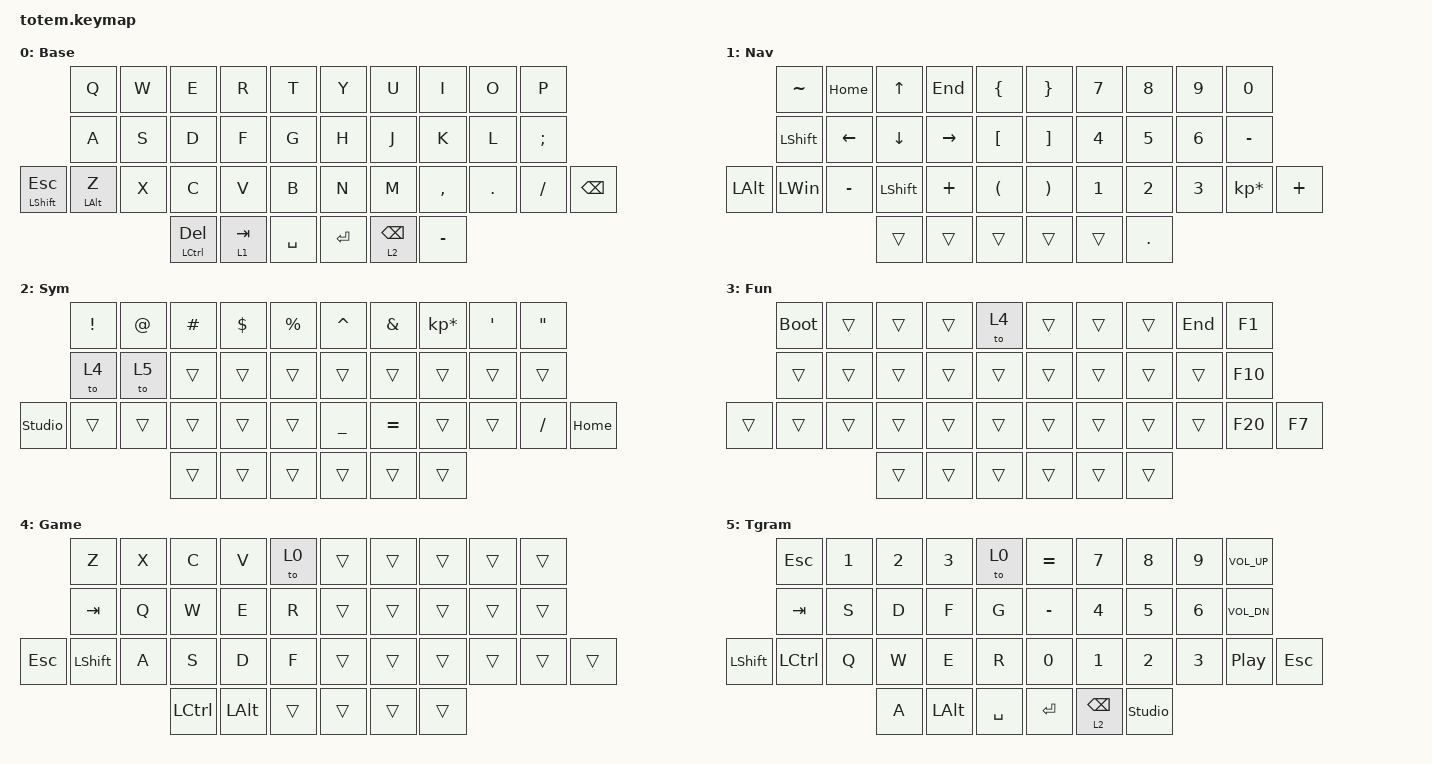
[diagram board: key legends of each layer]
//
//                                                        ▀▀▀▀▀     ▀▀▀▀▀          ▀▀█▀▀
//                                                        ▄▀▀▀▄  ▄  ▄▀▀▀▄  ▄  ▄▀▀▀▄  █  ▄▀▀▀▄
//                                                        █   █  █  █   █  █  █   █  █  █   █
//                                                         ▀▀▀   █   ▀▀▀   █   ▀▀▀   ▀   ▀▀▀
//                                                               █      ▄▄▄█▄▄▄    █   █  
//                                                               ▀      █  █  █     █▄█
//                                                             ▀▀▀▀▀    █  █  █      ▀
//                                                                      ▀  ▀  ▀
//
// ▄▄▄▄▄▄▄▄▄▄▄▄▄▄▄▄▄▄▄▄▄▄▄▄▄▄▄▄▄▄▄▄▄▄▄▄▄▄▄▄▄▄▄▄▄▄▄▄▄▄▄▄▄▄▄▄▄▄▄▄▄▄▄▄▄▄▄▄▄▄▄▄▄▄▄▄▄▄▄▄▄▄▄▄▄▄▄▄▄▄▄▄▄▄▄▄▄▄▄▄▄▄▄▄▄▄▄▄▄▄▄▄▄▄▄▄▄▄▄▄▄▄▄▄▄▄▄▄▄▄▄▄▄▄▄▄▄▄▄▄▄▄▄▄▄▄▄▄▄

#include <behaviors.dtsi>
#include <dt-bindings/zmk/keys.h>

#define Base        0
#define Nav         1
#define Sym         2
#define Fun         3
#define Game        4
#define Work1       5

&mt {
    quick-tap-ms = <100>;
    global-quick-tap;
    flavor = "tap-preferred";
    tapping-term-ms = <170>;
};

&lt {
    tapping-term-ms = <240>;
    flavor = "balanced";
    quick-tap-ms = <150>;
};

/ {
    behaviors {
        hm: homerow_mods {
            compatible = "zmk,behavior-hold-tap";
            label = "HOMEROW_MODS";
            #binding-cells = <2>;
            flavor = "tap-preferred";
            tapping-term-ms = <200>;
            quick-tap-ms = <125>;
            global-quick-tap;
            bindings = <&kp>, <&kp>;
        };
    };

    combos {
        compatible = "zmk,combos";

        studio_unlock_sh {
            bindings = <&studio_unlock>;
            key-positions = <20 31 9>;
        };
    };

    keymap {
        compatible = "zmk,keymap";

        Base {
            display-name = "Base";
            bindings = <
                       &kp Q           &kp W  &kp E          &kp R      &kp T        &kp Y    &kp U       &kp I      &kp O    &kp P
                       &kp A           &kp S  &kp D          &kp F      &kp G        &kp H    &kp J       &kp K      &kp L    &kp SEMI
&mt LEFT_SHIFT ESCAPE  &mt LEFT_ALT Z  &kp X  &kp C          &kp V      &kp B        &kp N    &kp M       &kp COMMA  &kp DOT  &kp SLASH  &kp BACKSPACE
                                              &mt LCTRL DEL  &lt 1 TAB  &kp SPACE    &kp RET  &lt 2 BSPC  &kp MINUS
            >;
        };

        Nav {
            display-name = "Nav";
            bindings = <
              &kp TILDE       &kp HOME   &kp UP_ARROW    &kp END    &kp LBRC    &kp RBRC  &kp NUMBER_7  &kp NUMBER_8  &kp NUMBER_9  &kp NUMBER_0
              &kp LEFT_SHIFT  &kp LEFT   &kp DOWN        &kp RIGHT  &kp LBKT    &kp RBKT  &kp NUMBER_4  &kp NUMBER_5  &kp NUMBER_6  &kp MINUS
&kp LEFT_ALT  &kp LEFT_WIN    &kp MINUS  &kp LEFT_SHIFT  &kp PLUS   &kp LPAR    &kp RPAR  &kp NUMBER_1  &kp NUMBER_2  &kp NUMBER_3  &kp KP_MULTIPLY  &kp PLUS
                                         &trans          &trans     &trans      &trans    &trans        &kp DOT
            >;
        };

        Sym {
            display-name = "Sym";
            bindings = <
                &kp EXCL  &kp AT  &kp HASH  &kp DOLLAR  &kp PERCENT    &kp CARET  &kp AMPERSAND  &kp KP_ASTERISK  &kp SQT  &kp DQT
                &to 4     &to 5   &trans    &trans      &trans         &trans     &trans         &trans           &trans   &trans
&studio_unlock  &trans    &trans  &trans    &trans      &trans         &kp UNDER  &kp EQUAL      &trans           &trans   &kp SLASH  &kp HOME
                                  &trans    &trans      &trans         &trans     &trans         &trans
            >;
        };

        Fun {
            display-name = "Fun";
            bindings = <
        &bootloader  &trans  &trans  &trans  &to 4     &trans  &trans  &trans  &kp END  &kp F1
        &trans       &trans  &trans  &trans  &trans    &trans  &trans  &trans  &trans   &kp F10
&trans  &trans       &trans  &trans  &trans  &trans    &trans  &trans  &trans  &trans   &kp F20  &kp F7
                             &trans  &trans  &trans    &trans  &trans  &trans
            >;
        };

        Gaming {
            display-name = "Game";
            bindings = <
            &kp Z           &kp X  &kp C      &kp V         &to 0     &trans  &trans  &trans  &trans  &trans
            &kp TAB         &kp Q  &kp W      &kp E         &kp R     &trans  &trans  &trans  &trans  &trans
&kp ESCAPE  &kp LEFT_SHIFT  &kp A  &kp S      &kp D         &kp F     &trans  &trans  &trans  &trans  &trans  &trans
                                   &kp LCTRL  &kp LEFT_ALT  &trans    &trans  &trans  &trans
            >;
        };

        Work1 {
            display-name = "Tgram";
            bindings = <
           &kp ESC    &kp N1  &kp N2  &kp N3    &to 0        &kp EQUAL  &kp N7      &kp N8          &kp N9  &kp C_VOLUME_UP
           &kp TAB    &kp S   &kp D   &kp F     &kp G        &kp MINUS  &kp N4      &kp N5          &kp N6  &kp C_VOL_DN
&kp LSHFT  &kp LCTRL  &kp Q   &kp W   &kp E     &kp R        &kp N0     &kp N1      &kp N2          &kp N3  &kp C_PLAY_PAUSE  &kp ESC
                              &kp A   &kp LALT  &kp SPACE    &kp RET    &lt 2 BSPC  &studio_unlock
            >;

            label = "work";
        };
    };
};
